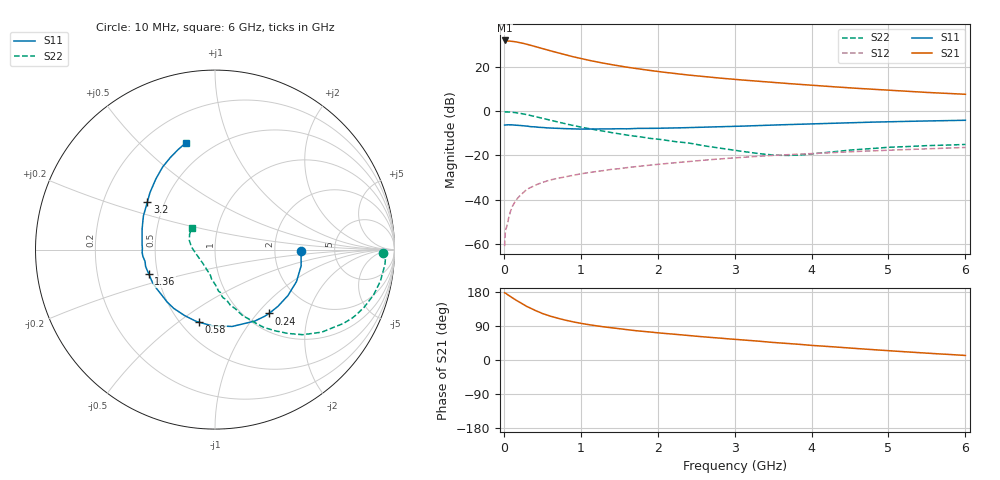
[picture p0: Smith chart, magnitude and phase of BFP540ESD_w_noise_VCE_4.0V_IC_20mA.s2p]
! Infineon Technologies  Discrete & RF Semiconductors
! BFP540ESD
! VCE =  4.0 V,  IC =  20 mA
! Common Emitter S-Parameters:  Nov 2015
# GHz  S  MA  R  50
!  f  S11  S21  S12  S22
! GHz  MAG  ANG  MAG  ANG  MAG  ANG  MAG  ANG
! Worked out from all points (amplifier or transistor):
!   210 points, 10 MHz to 6 GHz, reference 50 ohm
!   highest |S21| = 31.7 dB at 10 MHz (marker M1)
!   |S21| within 3 dB of that: start of sweep to 437 MHz
!   unconditionally stable (mu >= 1): start of sweep to 15.32 MHz; 2.15 GHz to end of sweep
!   at 185 MHz: K = 0.27, MSG = 35.0 dB, |S12| = -39.1 dB
!   at 1.52 GHz: K = 0.89, MSG = 23.0 dB, |S12| = -25.9 dB
!   at 6 GHz: K = 1.11, MAG = 9.9 dB, |S12| = -16.4 dB
!   lowest NFmin = 1.17 dB at 900 MHz
!   S11 on the Smith chart (normalised r, x): 10 MHz: 2.84, -0.07; 240 MHz: 1.27, -1.16; 580 MHz: 0.62, -0.60; 1.36 GHz: 0.45, -0.14; 3.2 GHz: 0.40, +0.27; 6 GHz: 0.36, +0.70
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0.01  0.48 -1.2  38.67 177.5  0.0009 46.9  0.9344 -1.2
0.02  0.481 -4.2  37.89 176.7  0.0019 67.8  0.9523 -1.7
0.05  0.4883 -10.6  37.85 172.3  0.003 77.1  0.9502 -5.1
0.1  0.4878 -21.4  37.15 165.6  0.0064 78.0  0.9383 -10.7
0.15  0.4803 -32.3  36.17 159.0  0.0093 75.1  0.9189 -16.0
0.24  0.4664 -49.7  33.62 148.0  0.0138 71.4  0.8667 -24.8
0.3  0.4557 -60.9  31.8 141.2  0.0171 70.1  0.8255 -29.9
0.4  0.4388 -77.4  28.53 131.3  0.021 65.8  0.7531 -37.6
0.5  0.4249 -92.2  25.58 122.8  0.0244 63.8  0.6814 -44.1
0.58  0.414 -102.2  23.28 117.4  0.0271 61.3  0.63 -48.0
0.7  0.4047 -114.7  20.46 110.2  0.0304 59.9  0.5625 -53.5
0.8  0.4002 -125.0  18.37 105.0  0.0327 58.1  0.5127 -57.8
1.02  0.3898 -141.3  14.88 96.1  0.0388 56.9  0.4267 -64.3
1.36  0.3936 -160.0  11.37 85.9  0.0471 55.5  0.3343 -72.9
1.7  0.4035 -174.7  9.113 77.7  0.0553 54.1  0.2716 -80.6
2.02  0.4078 175.0  7.667 71.4  0.0632 52.8  0.2296 -85.4
2.6  0.4311 158.9  5.929 61.0  0.0777 49.2  0.164 -96.9
3.1  0.4547 147.2  4.975 53.0  0.0901 45.8  0.1228 -110.5
3.2  0.4605 145.0  4.82 51.5  0.0925 44.8  0.1161 -115.2
4.1  0.5192 128.3  3.686 37.3  0.1119 37.4  0.1112 -170.9
5.1  0.5755 114.4  2.866 23.1  0.1324 28.5  0.154 158.0
6  0.6162 105.3  2.374 12.0  0.1505 21.9  0.176 137.6
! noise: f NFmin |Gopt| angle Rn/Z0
0.9  1.17  0.28  -137  0.11
1.8  1.32  0.31  -144  0.11
2.4  1.35  0.32  -135  0.12
3  1.45  0.35  -130  0.13
4  1.53  0.47  -104  0.22
5  1.66  0.56  -87  0.31
6  1.97  0.55  -87  0.57
